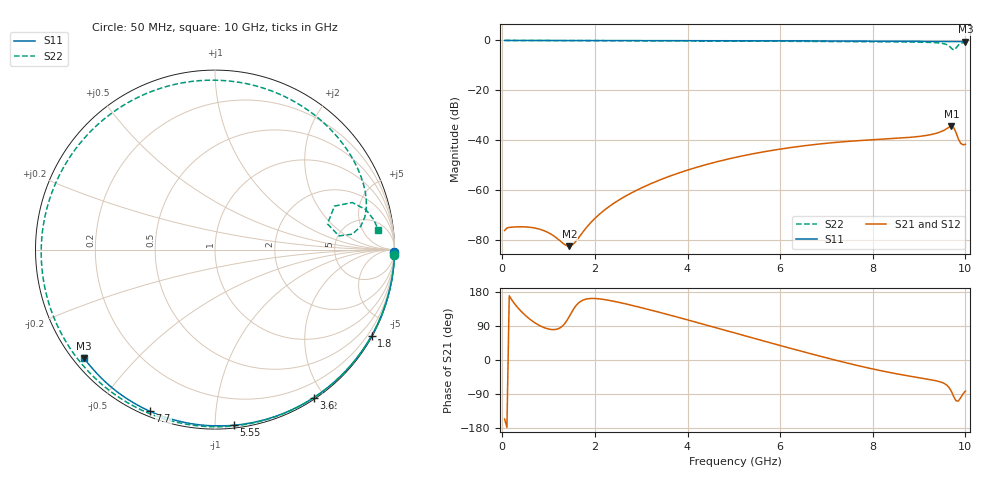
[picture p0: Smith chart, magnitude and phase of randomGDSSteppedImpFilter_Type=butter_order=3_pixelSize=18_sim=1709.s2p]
! freq	dB(S11)	phase(S11)	dB(S12)	phase(S12)
!  dB(S21)	phase(S21)	dB(S22)	phase(S22)
!S-par simulation data
#  GHz  S  DB  R 50
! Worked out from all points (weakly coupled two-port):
!   200 points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, 50 MHz to 10 GHz, reference 50 ohm
!   highest |S21| = -34.48 dB at 9.7 GHz (marker M1); lowest = -82.6 dB at 1.45 GHz (marker M2)
!   lowest |S11| = -0.5 dB at 10 GHz (marker M3), VSWR 36.84, Z = 1.53 - j18 ohm
!   |S11| at or under -10 dB: nowhere
!   |S22| runs from -3.8 to 0.0 dB; largest |S21 - S12| = 0
!   S11 on the Smith chart (normalised r, x): 50 MHz: open; 1.8 GHz: 0.03, -3.89; 3.6 GHz: 0.02, -1.87; 5.55 GHz: 0.02, -1.11; 7.7 GHz: 0.02, -0.68; 10 GHz: 0.03, -0.36
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0.05  -0.00 -0.8  -76.32 -155.9  -76.32 -155.9  -0.00 -1.7
0.65  -0.01 -10.5  -75.14 102.7  -75.14 102.7  -0.02 -22.1
1.2  -0.02 -19.4  -79.72 82.1  -79.72 82.1  -0.05 -40.5
1.45  -0.03 -23.3  -82.60 115.6  -82.60 115.6  -0.06 -48.7
1.6  -0.03 -25.7  -80.37 144.8  -80.37 144.8  -0.07 -53.6
1.75  -0.04 -28.1  -76.66 158.3  -76.66 158.3  -0.07 -58.5
1.8  -0.04 -28.8  -75.49 160.4  -75.49 160.4  -0.08 -60.1
2.45  -0.05 -38.9  -64.87 153.9  -64.87 153.9  -0.10 -80.8
3.4  -0.07 -53.3  -56.03 125.6  -56.03 125.6  -0.14 -110.2
3.6  -0.08 -56.3  -54.60 119.1  -54.60 119.1  -0.15 -116.3
5.05  -0.12 -77.0  -46.88 70.2  -46.88 70.2  -0.24 -161.0
5.55  -0.14 -83.9  -45.03 53.2  -45.03 53.2  -0.27 -177.2
6.7  -0.19 -99.1  -41.88 15.2  -41.88 15.2  -0.38 142.2
7.7  -0.26 -111.9  -40.22 -15.5  -40.22 -15.5  -0.47 101.7
8.35  -0.31 -120.0  -39.49 -32.6  -39.49 -32.6  -0.55 72.6
8.8  -0.35 -125.6  -38.91 -42.6  -38.91 -42.6  -0.62 51.4
9.3  -0.40 -131.7  -37.62 -53.0  -37.62 -53.0  -0.82 26.6
9.55  -0.42 -134.8  -35.94 -62.3  -35.94 -62.3  -1.37 12.2
9.7  -0.44 -136.6  -34.48 -83.3  -34.48 -83.3  -3.16 6.3
9.75  -0.44 -137.2  -35.04 -97.2  -35.04 -97.2  -3.84 12.9
9.85  -0.45 -138.4  -39.63 -108.0  -39.63 -108.0  -1.84 18.9
10  -0.47 -140.3  -41.72 -81.9  -41.72 -81.9  -0.76 7.0
